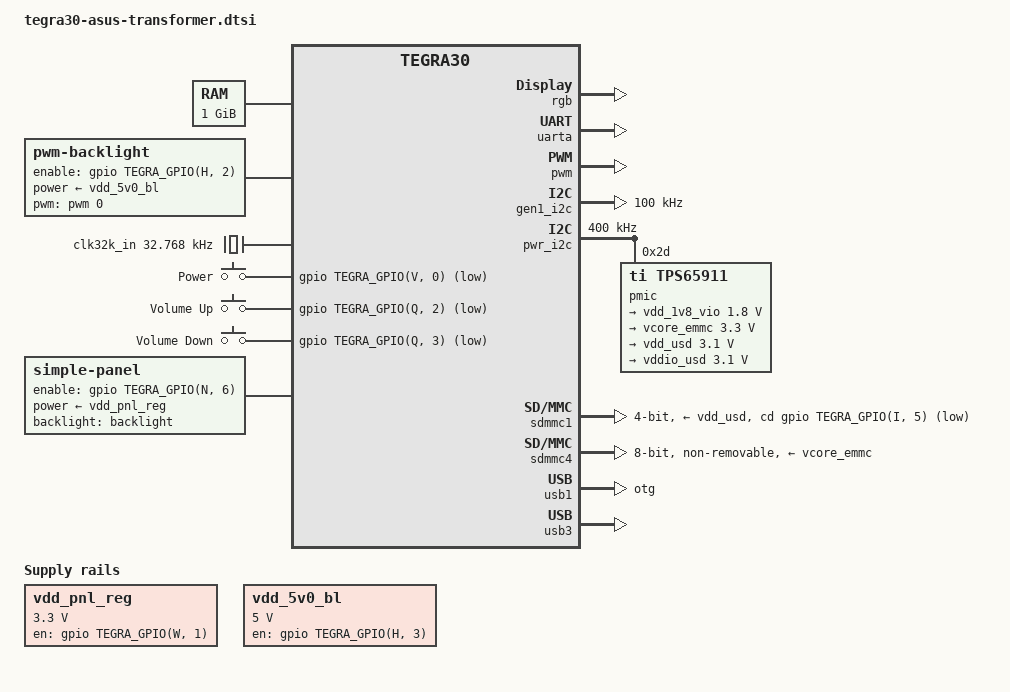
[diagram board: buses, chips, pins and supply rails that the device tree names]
// SPDX-License-Identifier: GPL-2.0

#include <dt-bindings/input/input.h>
#include "tegra30.dtsi"

/ {
	chosen {
		stdout-path = &uarta;
	};

	aliases {
		i2c0 = &pwr_i2c;
		i2c1 = &gen1_i2c;

		mmc0 = &sdmmc4;	/* eMMC */
		mmc1 = &sdmmc1; /* uSD slot */

		rtc0 = &pmic;
		rtc1 = "/rtc@7000e000";

		usb0 = &usb1;
		usb1 = &usb3; /* Dock USB */
	};

	memory {
		device_type = "memory";
		reg = <0x80000000 0x40000000>;
	};

	host1x@50000000 {
		dc@54200000 {
			rgb {
				status = "okay";

				nvidia,panel = <&panel>;
			};
		};
	};

	uarta: serial@70006000 {
		status = "okay";
	};

	pwm: pwm@7000a000 {
		status = "okay";
	};

	gen1_i2c: i2c@7000c000 {
		status = "okay";
		clock-frequency = <100000>;
	};

	pwr_i2c: i2c@7000d000 {
		status = "okay";
		clock-frequency = <400000>;

		/* Texas Instruments TPS659110 PMIC */
		pmic: tps65911@2d {
			compatible = "ti,tps65911";
			reg = <0x2d>;

			interrupts = <GIC_SPI 86 IRQ_TYPE_LEVEL_HIGH>;
			#interrupt-cells = <2>;
			interrupt-controller;

			ti,system-power-controller;

			#gpio-cells = <2>;
			gpio-controller;

			regulators {
				vdd_1v8_vio: vddio {
					regulator-name = "vdd_1v8_gen";
					regulator-min-microvolt = <1800000>;
					regulator-max-microvolt = <1800000>;
					regulator-always-on;
					regulator-boot-on;
				};

				/* eMMC VDD */
				vcore_emmc: ldo1 {
					regulator-name = "vdd_emmc_core";
					regulator-min-microvolt = <3300000>;
					regulator-max-microvolt = <3300000>;
				};

				/* uSD slot VDD */
				vdd_usd: ldo2 {
					regulator-name = "vdd_usd";
					regulator-min-microvolt = <3100000>;
					regulator-max-microvolt = <3100000>;
				};

				/* uSD slot VDDIO */
				vddio_usd: ldo3 {
					regulator-name = "vddio_usd";
					regulator-min-microvolt = <3100000>;
					regulator-max-microvolt = <3100000>;
					regulator-always-on;
					regulator-boot-on;
				};
			};
		};
	};

	sdmmc1: sdhci@78000000 {
		status = "okay";
		bus-width = <4>;

		cd-gpios = <&gpio TEGRA_GPIO(I, 5) GPIO_ACTIVE_LOW>;
		power-gpios = <&gpio TEGRA_GPIO(D, 7) GPIO_ACTIVE_HIGH>;

		vmmc-supply = <&vdd_usd>;
		vqmmc-supply = <&vddio_usd>;
	};

	sdmmc4: sdhci@78000600 {
		status = "okay";
		bus-width = <8>;
		non-removable;

		vmmc-supply = <&vcore_emmc>;
		vqmmc-supply = <&vdd_1v8_vio>;
	};

	/* USB via ASUS connector */
	usb1: usb@7d000000 {
		status = "okay";
		dr_mode = "otg";
	};

	/* Dock's USB port */
	usb3: usb@7d008000 {
		status = "okay";
	};

	usb-phy@7d008000 {
		status = "okay";
	};

	backlight: backlight {
		compatible = "pwm-backlight";

		enable-gpios = <&gpio TEGRA_GPIO(H, 2) GPIO_ACTIVE_HIGH>;
		power-supply = <&vdd_5v0_bl>;
		pwms = <&pwm 0 4000000>;

		brightness-levels = <1 35 70 105 140 175 210 255>;
		default-brightness-level = <5>;
	};

	/* PMIC has a built-in 32KHz oscillator which is used by PMC */
	clk32k_in: clock-32k {
		compatible = "fixed-clock";
		#clock-cells = <0>;
		clock-frequency = <32768>;
		clock-output-names = "pmic-oscillator";
	};

	gpio-keys {
		compatible = "gpio-keys";

		key-power {
			label = "Power";
			gpios = <&gpio TEGRA_GPIO(V, 0) GPIO_ACTIVE_LOW>;
			linux,code = <KEY_ENTER>;
		};

		key-volume-up {
			label = "Volume Up";
			gpios = <&gpio TEGRA_GPIO(Q, 2) GPIO_ACTIVE_LOW>;
			linux,code = <KEY_UP>;
		};

		key-volume-down {
			label = "Volume Down";
			gpios = <&gpio TEGRA_GPIO(Q, 3) GPIO_ACTIVE_LOW>;
			linux,code = <KEY_DOWN>;
		};
	};

	panel: panel {
		compatible = "simple-panel";

		power-supply = <&vdd_pnl_reg>;
		enable-gpios = <&gpio TEGRA_GPIO(N, 6) GPIO_ACTIVE_HIGH>;

		backlight = <&backlight>;

		display-timings {
			timing@0 {
				/* 1280x800@60Hz */
				clock-frequency = <68000000>;

				hactive = <1280>;
				hfront-porch = <48>;
				hback-porch = <18>;
				hsync-len = <30>;

				vactive = <800>;
				vfront-porch = <3>;
				vback-porch = <12>;
				vsync-len = <5>;
			};
		};
	};

	vdd_pnl_reg: regulator-pnl {
		compatible = "regulator-fixed";
		regulator-name = "vdd_panel";
		regulator-min-microvolt = <3300000>;
		regulator-max-microvolt = <3300000>;
		gpio = <&gpio TEGRA_GPIO(W, 1) GPIO_ACTIVE_HIGH>;
		enable-active-high;
	};

	vdd_5v0_bl: regulator-bl {
		compatible = "regulator-fixed";
		regulator-name = "vdd_5v0_bl";
		regulator-min-microvolt = <5000000>;
		regulator-max-microvolt = <5000000>;
		gpio = <&gpio TEGRA_GPIO(H, 3) GPIO_ACTIVE_HIGH>;
		enable-active-high;
	};
};
